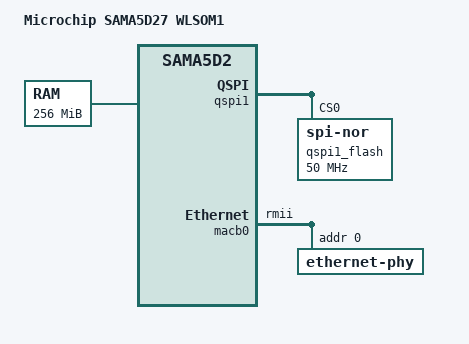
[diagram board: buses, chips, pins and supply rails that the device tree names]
// SPDX-License-Identifier: (GPL-2.0+ OR MIT)
/*
 * sama5d27_wlsom1.dtsi - Device Tree file for SAMA5D27 WLSOM1
 *
 * Copyright (C) 2019 Microchip Technology Inc. and its subsidiaries
 *
 * Author: Nicolas Ferre <nicolas.ferre@microcihp.com>
 */
#include "sama5d2.dtsi"
#include "sama5d2-pinfunc.h"
/ {
	model = "Microchip SAMA5D27 WLSOM1";
	compatible = "microchip,sama5d27-wlsom1", "atmel,sama5d2", "atmel,sama5";

	memory {
		reg = <0x20000000 0x10000000>;
	};

	ahb {
		apb {
			qspi1: spi@f0024000 {
				pinctrl-names = "default";
				pinctrl-0 = <&pinctrl_qspi1_default>;

				qspi1_flash: spi_flash@0 {
					compatible = "jedec,spi-nor";
					reg = <0>;
					spi-max-frequency = <50000000>;
					spi-rx-bus-width = <4>;
					spi-tx-bus-width = <4>;
				};
			};

			macb0: ethernet@f8008000 {
				pinctrl-names = "default";
				pinctrl-0 = <&pinctrl_macb0_rmii &pinctrl_macb0_phy_irq>;
				phy-mode = "rmii";

				ethernet-phy@0 {
					reg = <0x0>;
				};
			};

			pioA: pinctrl@fc038000 {
				pinctrl_macb0_phy_irq: macb0_phy_irq {
					pinmux = <PIN_PB24__GPIO>;
					bias-disable;
				};

				pinctrl_macb0_rmii: macb0_rmii {
					pinmux = <PIN_PB14__GTXCK>,
						 <PIN_PB15__GTXEN>,
						 <PIN_PB16__GRXDV>,
						 <PIN_PB17__GRXER>,
						 <PIN_PB18__GRX0>,
						 <PIN_PB19__GRX1>,
						 <PIN_PB20__GTX0>,
						 <PIN_PB21__GTX1>,
						 <PIN_PB22__GMDC>,
						 <PIN_PB23__GMDIO>;
					bias-disable;
				};

				pinctrl_qspi1_default: qspi1_default {
					pinmux = <PIN_PB5__QSPI1_SCK>,
						 <PIN_PB6__QSPI1_CS>,
						 <PIN_PB7__QSPI1_IO0>,
						 <PIN_PB8__QSPI1_IO1>,
						 <PIN_PB9__QSPI1_IO2>,
						 <PIN_PB10__QSPI1_IO3>;
					bias-pull-up;
				};
			};
		};
	};
};
